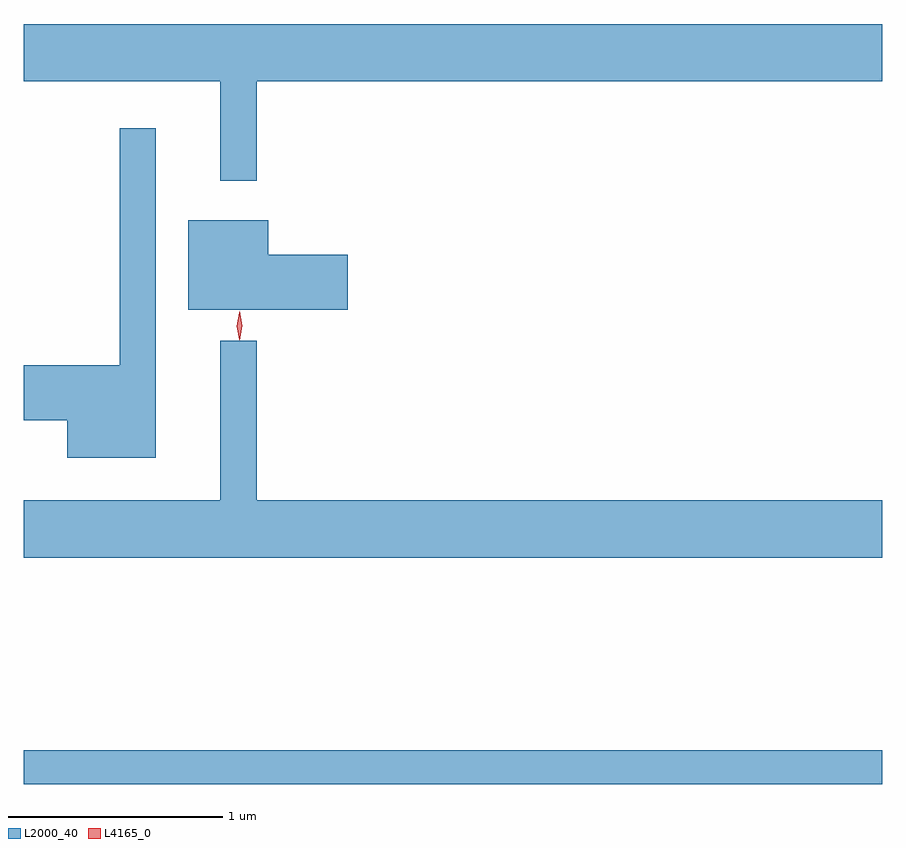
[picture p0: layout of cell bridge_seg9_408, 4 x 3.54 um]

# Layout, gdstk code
import gdstk
lib = gdstk.Library(unit=1e-6, precision=1e-09)
def R(c, l, rs):  # rectangles x0, y0, x1, y1
    for r in rs: c.add(gdstk.rectangle(r[:2], r[2:], *l))
def P(c, l, *ps):  # polygons
    for p in ps: c.add(gdstk.Polygon(p, *l))
L2000_40 = (2000, 40)
L4165_0 = (4165, 0)

bridge_seg9_408 = lib.new_cell('bridge_seg9_408')
R(bridge_seg9_408, L2000_40, [(549.575,2046.261,553.575,2046.419)])
P(bridge_seg9_408, L2000_40, [(550.659,2049.536),(553.575,2049.536),(553.575,2049.804),(549.575,2049.804),(549.575,2049.536),(550.491,2049.536),(550.491,2049.073),(550.659,2049.073)],
  [(550.189,2049.318),(550.021,2049.318),(550.021,2048.214),(549.575,2048.214),(549.575,2047.956),(549.776,2047.956),(549.776,2047.781),(550.189,2047.781)],
  [(551.084,2048.729),(550.714,2048.729),(550.714,2048.889),(550.341,2048.889),(550.341,2048.471),(551.084,2048.471)],
  [(553.575,2047.584),(550.659,2047.584),(550.659,2048.327),(550.491,2048.327),(550.491,2047.584),(549.575,2047.584),(549.575,2047.316),(553.575,2047.316)])
P(bridge_seg9_408, L4165_0, [(550.578,2048.333),(550.578,2048.334),(550.568,2048.396),(550.578,2048.459),(550.578,2048.46),(550.579,2048.459),(550.588,2048.396),(550.579,2048.334)],
  [(550.581,2048.33),(550.572,2048.398),(550.581,2048.466),(550.582,2048.466),(550.582,2048.466),(550.592,2048.398),(550.582,2048.33),(550.582,2048.33)])

lib.write_gds('bridge_seg9_408.gds')
